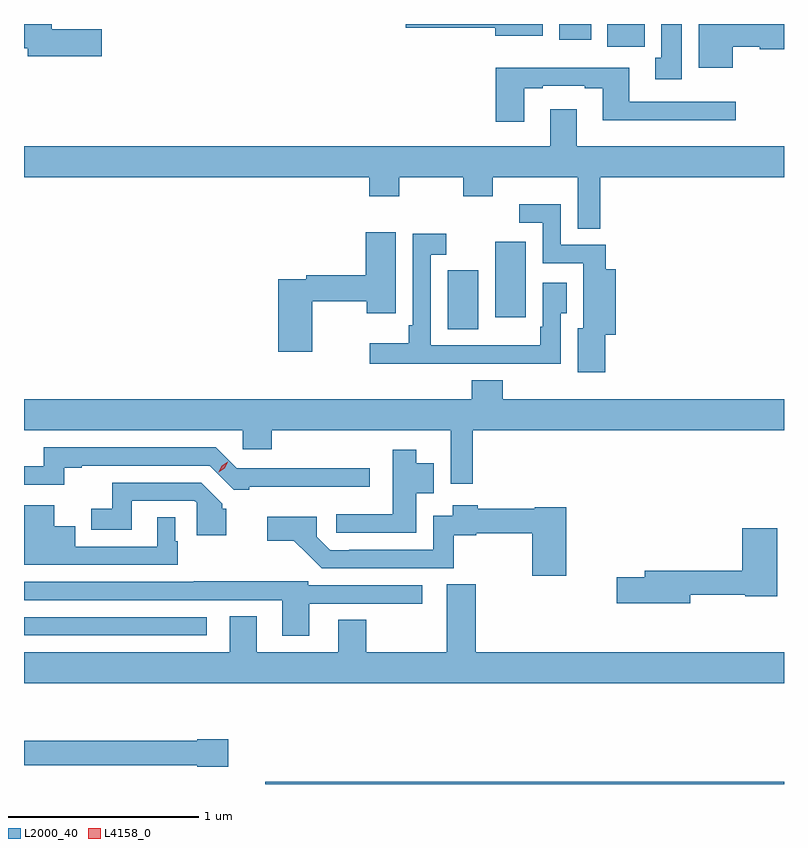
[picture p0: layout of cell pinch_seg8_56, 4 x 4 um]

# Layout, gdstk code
import gdstk
lib = gdstk.Library(unit=1e-6, precision=1e-09)
def R(c, l, rs):  # rectangles x0, y0, x1, y1
    for r in rs: c.add(gdstk.rectangle(r[:2], r[2:], *l))
def P(c, l, *ps):  # polygons
    for p in ps: c.add(gdstk.Polygon(p, *l))
L2000_40 = (2000, 40)
L4158_0 = (4158, 0)

pinch_seg8_56 = lib.new_cell('pinch_seg8_56')
R(pinch_seg8_56, L2000_40, [(939.155,1107.979,941.885,1107.992), (937.885,1108.761,938.848,1108.857), (940.115,1110.373,940.276,1110.684), (940.364,1110.435,940.525,1110.832), (940.955,1111.86,941.151,1111.979), (940.703,1111.896,940.87,1111.979)])
P(pinch_seg8_56, L2000_40, [(941.614,1111.86),(941.757,1111.86),(941.757,1111.847),(941.885,1111.847),(941.885,1111.979),(941.435,1111.979),(941.435,1111.748),(941.614,1111.748)],
  [(940.615,1111.979),(939.894,1111.979),(939.894,1111.958),(940.364,1111.958),(940.364,1111.916),(940.615,1111.916)],
  [(941.347,1111.979),(941.24,1111.979),(941.24,1111.801),(941.207,1111.801),(941.207,1111.689),(941.347,1111.689)],
  [(938.293,1111.952),(938.032,1111.952),(938.032,1111.979),(937.885,1111.979),(937.885,1111.852),(937.904,1111.852),(937.904,1111.81),(938.293,1111.81)],
  [(940.519,1111.641),(940.615,1111.641),(940.615,1111.653),(940.835,1111.653),(940.835,1111.641),(940.931,1111.641),(940.931,1111.472),(941.632,1111.472),(941.632,1111.569),(941.071,1111.569),(941.071,1111.75),(940.367,1111.75),(940.367,1111.464),(940.519,1111.464)],
  [(940.918,1111.172),(941.885,1111.172),(941.885,1111.336),(940.795,1111.336),(940.795,1111.531),(940.655,1111.531),(940.655,1111.336),(937.885,1111.336),(937.885,1111.172),(939.701,1111.172),(939.701,1111.073),(939.861,1111.073),(939.861,1111.172),(940.198,1111.172),(940.198,1111.073),(940.353,1111.073),(940.353,1111.172),(940.799,1111.172),(940.799,1110.901),(940.918,1110.901)],
  [(940.943,1110.344),(941,1110.344),(941,1110.688),(940.948,1110.688),(940.948,1110.816),(940.71,1110.816),(940.71,1111.03),(940.491,1111.03),(940.491,1110.933),(940.614,1110.933),(940.614,1110.72),(940.829,1110.72),(940.829,1110.379),(940.799,1110.379),(940.799,1110.147),(940.943,1110.147)],
  [(939.402,1110.52),(939.688,1110.52),(939.688,1110.456),(939.841,1110.456),(939.841,1110.883),(939.683,1110.883),(939.683,1110.656),(939.37,1110.656),(939.37,1110.636),(939.224,1110.636),(939.224,1110.255),(939.402,1110.255)],
  [(940.123,1110.192),(940.489,1110.192),(940.489,1110.191),(940.71,1110.191),(940.71,1110.457),(940.741,1110.457),(940.741,1110.616),(940.614,1110.616),(940.614,1110.385),(940.602,1110.385),(940.602,1110.289),(940.372,1110.289),(940.372,1110.288),(940.026,1110.288),(940.026,1110.765),(940.108,1110.765),(940.108,1110.874),(939.93,1110.874),(939.93,1110.394),(939.91,1110.394),(939.91,1110.298),(939.705,1110.298),(939.705,1110.191),(940.123,1110.191)],
  [(940.247,1109.84),(941.885,1109.84),(941.885,1110.004),(940.406,1110.004),(940.406,1110.103),(940.241,1110.103),(940.241,1110.004),(937.885,1110.004),(937.885,1109.84),(939.036,1109.84),(939.036,1109.742),(939.188,1109.742),(939.188,1109.84),(940.13,1109.84),(940.13,1109.559),(940.247,1109.559)],
  [(939.07,1109.543),(939.706,1109.543),(939.706,1109.642),(939.271,1109.642),(939.271,1109.64),(939.006,1109.64),(938.895,1109.751),(937.99,1109.751),(937.99,1109.651),(937.885,1109.651),(937.885,1109.553),(938.096,1109.553),(938.096,1109.643),(938.188,1109.643),(938.188,1109.655),(938.862,1109.655),(938.989,1109.528),(939.07,1109.528)],
  [(939.949,1109.51),(940.042,1109.51),(940.042,1109.668),(939.949,1109.668),(939.949,1109.737),(939.827,1109.737),(939.827,1109.398),(939.528,1109.398),(939.528,1109.301),(939.949,1109.301)],
  [(938.95,1109.427),(938.928,1109.427),(938.928,1109.455),(938.818,1109.565),(938.35,1109.565),(938.35,1109.428),(938.24,1109.428),(938.24,1109.318),(938.452,1109.318),(938.452,1109.469),(938.781,1109.469),(938.793,1109.458),(938.793,1109.288),(938.95,1109.288)],
  [(940.739,1109.436),(940.572,1109.436),(940.572,1109.428),(940.272,1109.428),(940.272,1109.446),(940.142,1109.446),(940.142,1109.392),(940.038,1109.392),(940.038,1109.211),(939.598,1109.211),(939.598,1109.208),(939.498,1109.208),(939.426,1109.28),(939.426,1109.386),(939.165,1109.386),(939.165,1109.258),(939.306,1109.258),(939.378,1109.187),(939.379,1109.188),(939.452,1109.115),(940.147,1109.115),(940.147,1109.288),(940.264,1109.288),(940.264,1109.299),(940.561,1109.299),(940.561,1109.076),(940.739,1109.076)],
  [(938.051,1109.133),(938.695,1109.133),(938.695,1109.256),(938.682,1109.256),(938.682,1109.384),(938.585,1109.384),(938.585,1109.229),(938.155,1109.229),(938.155,1109.335),(938.044,1109.335),(938.044,1109.446),(937.885,1109.446),(937.885,1109.132),(938.051,1109.132)],
  [(941.392,1108.974),(941.682,1108.974),(941.682,1108.966),(941.849,1108.966),(941.849,1109.326),(941.666,1109.326),(941.666,1109.102),(941.153,1109.102),(941.153,1109.066),(941.004,1109.066),(941.004,1108.931),(941.392,1108.931)],
  [(939.385,1108.929),(939.982,1108.929),(939.982,1109.025),(939.381,1109.025),(939.381,1109.045),(938.981,1109.045),(938.981,1109.046),(938.779,1109.046),(938.779,1109.043),(937.885,1109.043),(937.885,1108.947),(939.245,1108.947),(939.245,1108.758),(939.385,1108.758)],
  [(941.885,1108.672),(940.262,1108.672),(940.262,1109.03),(940.109,1109.03),(940.109,1108.672),(939.687,1108.672),(939.687,1108.844),(939.539,1108.844),(939.539,1108.672),(939.109,1108.672),(939.109,1108.862),(938.969,1108.862),(938.969,1108.672),(937.885,1108.672),(937.885,1108.508),(941.885,1108.508)],
  [(938.959,1108.215),(938.796,1108.215),(938.796,1108.207),(937.885,1108.207),(937.885,1108.078),(938.796,1108.078),(938.796,1108.07),(938.959,1108.07)])
P(pinch_seg8_56, L4158_0, [(938.91,1109.62),(938.91,1109.62),(938.926,1109.654),(938.957,1109.674),(938.957,1109.674),(938.957,1109.674),(938.941,1109.641),(938.91,1109.62)])

lib.write_gds('pinch_seg8_56.gds')
